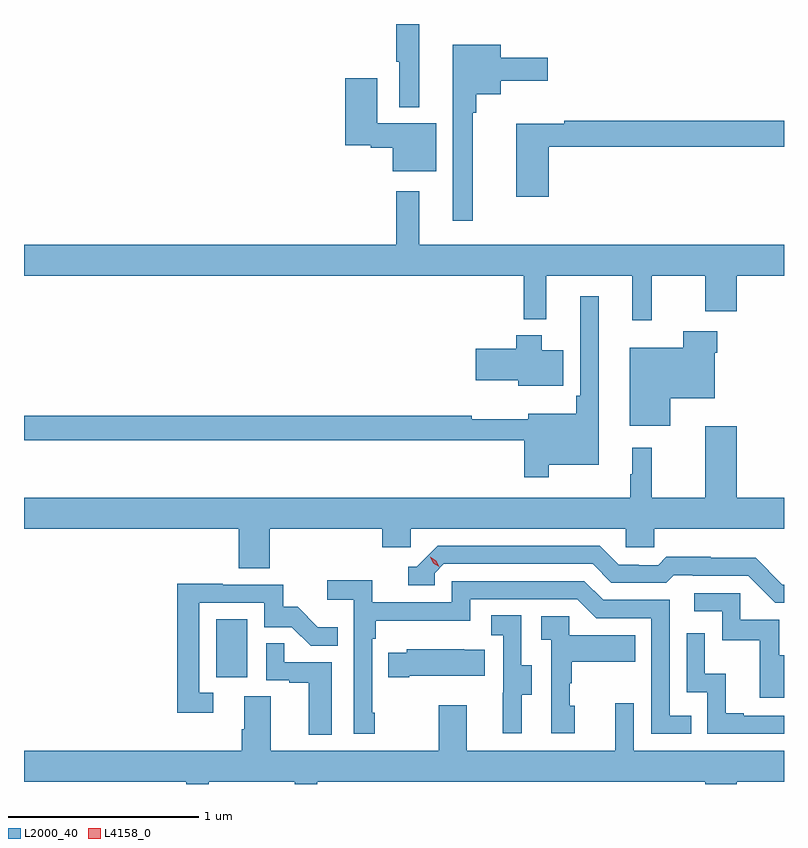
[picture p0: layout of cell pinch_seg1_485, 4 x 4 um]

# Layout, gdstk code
import gdstk
lib = gdstk.Library(unit=1e-6, precision=1e-09)
def R(c, l, rs):  # rectangles x0, y0, x1, y1
    for r in rs: c.add(gdstk.rectangle(r[:2], r[2:], *l))
def P(c, l, *ps):  # polygons
    for p in ps: c.add(gdstk.Polygon(p, *l))
L2000_40 = (2000, 40)
L4158_0 = (4158, 0)

pinch_seg1_485 = lib.new_cell('pinch_seg1_485')
R(pinch_seg1_485, L2000_40, [(1097.498,534.966,1097.662,535.273)])
P(pinch_seg1_485, L2000_40, [(1098.565,538.405),(1098.444,538.405),(1098.444,538.207),(1098.461,538.207),(1098.461,537.968),(1098.565,537.968)],
  [(1098.847,537.938),(1098.865,537.938),(1098.865,538.034),(1098.994,538.034),(1098.994,538.106),(1099.243,538.106),(1099.243,538.228),(1098.994,538.228),(1098.994,538.297),(1098.743,538.297),(1098.743,537.369),(1098.847,537.369)],
  [(1098.655,537.883),(1098.346,537.883),(1098.346,538.12),(1098.176,538.12),(1098.176,537.767),(1098.312,537.767),(1098.312,537.755),(1098.428,537.755),(1098.428,537.629),(1098.655,537.629)],
  [(1099.247,537.76),(1100.486,537.76),(1100.486,537.896),(1099.33,537.896),(1099.33,537.879),(1099.076,537.879),(1099.076,537.495),(1099.247,537.495)],
  [(1099.79,537.08),(1100.072,537.08),(1100.072,536.892),(1100.236,536.892),(1100.236,537.08),(1100.486,537.08),(1100.486,537.244),(1098.565,537.244),(1098.565,537.526),(1098.444,537.526),(1098.444,537.244),(1096.486,537.244),(1096.486,537.08),(1099.117,537.08),(1099.117,536.852),(1099.235,536.852),(1099.235,537.08),(1099.688,537.08),(1099.688,536.847),(1099.79,536.847)],
  [(1099.249,536.084),(1099.51,536.084),(1099.51,536.971),(1099.413,536.971),(1099.413,536.449),(1099.393,536.449),(1099.393,536.353),(1099.139,536.353),(1099.139,536.324),(1098.843,536.324),(1098.843,536.342),(1096.486,536.342),(1096.486,536.214),(1099.12,536.214),(1099.12,536.019),(1099.249,536.019)],
  [(1099.888,536.435),(1100.122,536.435),(1100.122,536.675),(1100.135,536.675),(1100.135,536.788),(1099.957,536.788),(1099.957,536.701),(1099.673,536.701),(1099.673,536.291),(1099.888,536.291)],
  [(1099.324,536.689),(1099.21,536.689),(1099.21,536.767),(1099.076,536.767),(1099.076,536.697),(1098.864,536.697),(1098.864,536.531),(1099.088,536.531),(1099.088,536.501),(1099.324,536.501)],
  [(1096.486,535.748),(1097.615,535.748),(1097.615,535.54),(1097.78,535.54),(1097.78,535.748),(1098.371,535.748),(1098.371,535.65),(1098.522,535.65),(1098.522,535.748),(1099.653,535.748),(1099.653,535.65),(1099.803,535.65),(1099.803,535.748),(1100.486,535.748),(1100.486,535.912),(1100.236,535.912),(1100.236,536.287),(1100.072,536.287),(1100.072,535.912),(1099.79,535.912),(1099.79,536.176),(1099.688,536.176),(1099.688,536.036),(1099.677,536.036),(1099.677,535.912),(1096.486,535.912)],
  [(1100.486,535.455),(1100.478,535.455),(1100.336,535.597),(1100.1,535.597),(1100.1,535.6),(1099.867,535.6),(1099.825,535.557),(1099.722,535.557),(1099.722,535.56),(1099.615,535.56),(1099.516,535.659),(1098.663,535.659),(1098.552,535.548),(1098.509,535.548),(1098.509,535.452),(1098.648,535.452),(1098.648,535.515),(1098.696,535.563),(1099.479,535.563),(1099.578,535.464),(1099.867,535.464),(1099.906,535.503),(1100.005,535.503),(1100.005,535.5),(1100.298,535.5),(1100.439,535.359),(1100.486,535.359)],
  [(1098.331,534.781),(1098.318,534.781),(1098.318,535.169),(1098.338,535.169),(1098.338,535.265),(1098.834,535.265),(1098.834,535.377),(1099.398,535.377),(1099.497,535.278),(1099.788,535.278),(1099.788,534.669),(1099.997,534.669),(1099.997,534.765),(1099.884,534.765),(1099.884,535.374),(1099.534,535.374),(1099.435,535.473),(1098.738,535.473),(1098.738,535.362),(1098.32,535.362),(1098.32,535.478),(1098.081,535.478),(1098.081,535.376),(1098.222,535.376),(1098.222,534.669),(1098.331,534.669)],
  [(1097.482,534.885),(1097.409,534.885),(1097.409,535.359),(1097.751,535.359),(1097.751,535.23),(1097.896,535.23),(1097.994,535.132),(1098.137,535.132),(1098.137,535.231),(1098.033,535.231),(1097.926,535.338),(1097.85,535.338),(1097.85,535.455),(1097.531,535.455),(1097.531,535.46),(1097.293,535.46),(1097.293,534.78),(1097.482,534.78)],
  [(1100.486,535.083),(1100.461,535.083),(1100.461,535.269),(1100.256,535.269),(1100.256,535.41),(1100.013,535.41),(1100.013,535.314),(1100.16,535.314),(1100.16,535.161),(1100.359,535.161),(1100.359,534.858),(1100.486,534.858)],
  [(1099.105,534.874),(1099.159,534.874),(1099.159,535.029),(1099.104,535.029),(1099.104,535.292),(1098.945,535.292),(1098.945,535.189),(1099.008,535.189),(1099.008,534.885),(1099.007,534.885),(1099.007,534.672),(1099.105,534.672)],
  [(1099.384,534.816),(1099.359,534.816),(1099.359,534.935),(1099.369,534.935),(1099.369,535.049),(1099.703,535.049),(1099.703,535.189),(1099.356,535.189),(1099.356,535.287),(1099.209,535.287),(1099.209,535.163),(1099.26,535.163),(1099.26,534.672),(1099.384,534.672)],
  [(1100.486,534.765),(1100.275,534.765),(1100.275,534.778),(1100.18,534.778),(1100.18,534.986),(1100.07,534.986),(1100.07,535.198),(1099.974,535.198),(1099.974,534.888),(1100.082,534.888),(1100.082,534.669),(1100.486,534.669)],
  [(1098.106,535.047),(1097.855,535.047),(1097.855,535.145),(1097.76,535.145),(1097.76,534.951),(1097.881,534.951),(1097.881,534.939),(1097.984,534.939),(1097.984,534.665),(1098.106,534.665)],
  [(1098.514,534.974),(1098.911,534.974),(1098.911,535.111),(1098.803,535.111),(1098.803,535.114),(1098.501,535.114),(1098.501,535.096),(1098.403,535.096),(1098.403,534.967),(1098.514,534.967)],
  [(1097.459,534.416),(1097.912,534.416),(1097.912,534.405),(1098.029,534.405),(1098.029,534.416),(1100.072,534.416),(1100.072,534.405),(1100.236,534.405),(1100.236,534.416),(1100.486,534.416),(1100.486,534.58),(1099.695,534.58),(1099.695,534.829),(1099.598,534.829),(1099.598,534.58),(1098.817,534.58),(1098.817,534.82),(1098.67,534.82),(1098.67,534.58),(1097.785,534.58),(1097.785,534.866),(1097.645,534.866),(1097.645,534.692),(1097.633,534.692),(1097.633,534.58),(1096.486,534.58),(1096.486,534.416),(1097.341,534.416),(1097.341,534.405),(1097.459,534.405)])
P(pinch_seg1_485, L4158_0, [(1098.671,535.548),(1098.64,535.567),(1098.623,535.6),(1098.623,535.6),(1098.624,535.6),(1098.655,535.581),(1098.671,535.548),(1098.671,535.548)])

lib.write_gds('pinch_seg1_485.gds')
